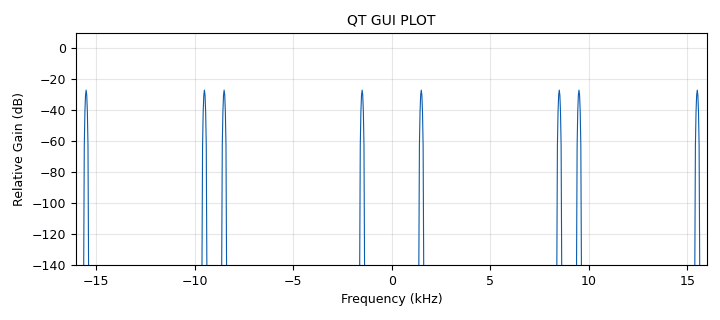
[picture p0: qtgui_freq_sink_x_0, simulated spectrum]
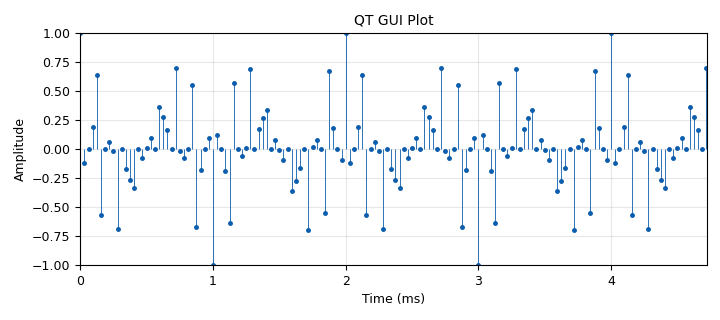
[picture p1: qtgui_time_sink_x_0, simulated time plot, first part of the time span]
options:
  parameters:
    generate_options: qt_gui
    id: Lab_1_3
    output_language: python
    title: Not titled yet
  states: {}

blocks:
- name: freq_a
  id: variable_qtgui_range
  parameters:
    label: Frecuencia_A
    start: '1000'
    step: '1000'
    stop: '40000'
    value: '7000'
  states: {}
- name: freq_b
  id: variable_qtgui_range
  parameters:
    label: Frecuencia_B
    start: '1000'
    step: '1000'
    stop: '40000'
    value: '12000'
  states: {}
- name: freq_c
  id: variable_qtgui_range
  parameters:
    label: Frecuencia_C
    start: '1000'
    step: '1000'
    stop: '40000'
    value: '3500'
  states: {}
- name: samp_rate
  id: variable
  parameters:
    value: '32000'
  states: {}
- name: analog_sig_source_x_0
  id: analog_sig_source_x
  parameters:
    amp: '1'
    freq: freq_a
    offset: '0'
    phase: '0'
    samp_rate: samp_rate
    type: float
    waveform: analog.GR_COS_WAVE
  states: {}
- name: analog_sig_source_x_0_0
  id: analog_sig_source_x
  parameters:
    amp: '1'
    freq: freq_c
    offset: '0'
    phase: '0'
    samp_rate: samp_rate
    type: float
    waveform: analog.GR_COS_WAVE
  states: {}
- name: analog_sig_source_x_0_1
  id: analog_sig_source_x
  parameters:
    amp: '1'
    freq: freq_b
    offset: '0'
    phase: '0'
    samp_rate: samp_rate
    type: float
    waveform: analog.GR_COS_WAVE
  states: {}
- name: blocks_multiply_xx_0
  id: blocks_multiply_xx
  parameters:
    num_inputs: '3'
    type: float
  states: {}
- name: blocks_throttle_0
  id: blocks_throttle
  parameters:
    samples_per_second: samp_rate
    type: float
  states: {}
- name: qtgui_freq_sink_x_0
  id: qtgui_freq_sink_x
  parameters:
    average: '0.1'
    bw: samp_rate
    fc: '0'
    fftsize: '1024'
    name: '"QT GUI PLOT"'
    type: float
  states: {}
- name: qtgui_time_sink_x_0
  id: qtgui_time_sink_x
  parameters:
    name: '"QT GUI Plot"'
    size: '1024'
    srate: samp_rate
    stemplot: 'True'
    type: float
  states: {}

connections:
- [analog_sig_source_x_0, '0', blocks_multiply_xx_0, '0']
- [analog_sig_source_x_0_0, '0', blocks_multiply_xx_0, '2']
- [analog_sig_source_x_0_1, '0', blocks_multiply_xx_0, '1']
- [blocks_multiply_xx_0, '0', blocks_throttle_0, '0']
- [blocks_throttle_0, '0', qtgui_freq_sink_x_0, '0']
- [blocks_throttle_0, '0', qtgui_time_sink_x_0, '0']

metadata:
  file_format: 1
